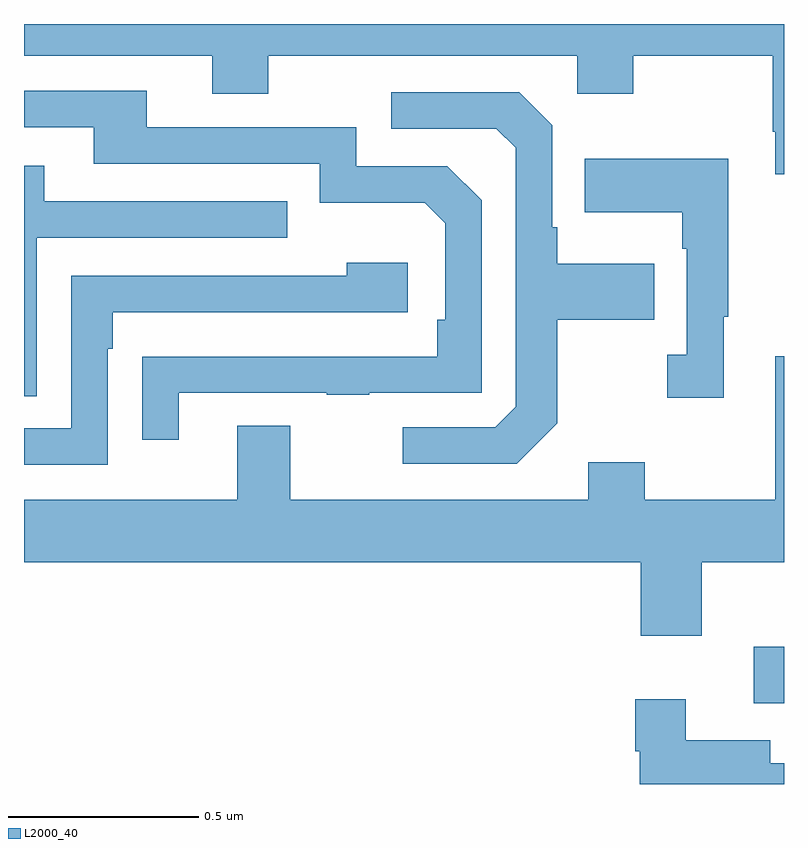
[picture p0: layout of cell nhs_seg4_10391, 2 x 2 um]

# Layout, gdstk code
import gdstk
lib = gdstk.Library(unit=1e-6, precision=1e-09)
def R(c, l, rs):  # rectangles x0, y0, x1, y1
    for r in rs: c.add(gdstk.rectangle(r[:2], r[2:], *l))
def P(c, l, *ps):  # polygons
    for p in ps: c.add(gdstk.Polygon(p, *l))
L2000_40 = (2000, 40)

nhs_seg4_10391 = lib.new_cell('nhs_seg4_10391')
R(nhs_seg4_10391, L2000_40, [(240.921,799.112,241,799.261)])
P(nhs_seg4_10391, L2000_40, [(241,800.9),(239,800.9),(239,800.816),(239.495,800.816),(239.495,800.717),(239.643,800.717),(239.643,800.816),(240.456,800.816),(240.456,800.717),(240.603,800.717),(240.603,800.816),(240.97,800.816),(240.97,800.617),(240.977,800.617),(240.977,800.505),(241,800.505)],
  [(239.407,799.929),(239.797,799.929),(239.797,799.924),(239.909,799.924),(239.909,799.929),(240.204,799.929),(240.204,800.436),(240.114,800.526),(239.874,800.526),(239.874,800.628),(239.323,800.628),(239.323,800.724),(239,800.724),(239,800.628),(239.183,800.628),(239.183,800.532),(239.778,800.532),(239.778,800.429),(240.055,800.429),(240.108,800.376),(240.108,800.122),(240.088,800.122),(240.088,800.025),(239.413,800.025),(239.413,800.024),(239.311,800.024),(239.311,799.806),(239.407,799.806)],
  [(240.403,799.849),(240.403,800.122),(240.659,800.122),(240.659,800.269),(240.403,800.269),(240.403,800.365),(240.39,800.365),(240.39,800.634),(240.303,800.721),(239.967,800.721),(239.967,800.625),(240.243,800.625),(240.294,800.574),(240.294,799.893),(240.24,799.839),(239.997,799.839),(239.997,799.743),(240.297,799.743)],
  [(240.841,800.129),(240.853,800.129),(240.853,800.545),(240.475,800.545),(240.475,800.405),(240.732,800.405),(240.732,800.309),(240.744,800.309),(240.744,800.03),(240.693,800.03),(240.693,799.917),(240.841,799.917)],
  [(239.034,800.337),(239.693,800.337),(239.693,800.433),(239.053,800.433),(239.053,800.527),(239,800.527),(239,799.921),(239.034,799.921)],
  [(239.22,800.045),(239.233,800.045),(239.233,800.142),(240.01,800.142),(240.01,800.272),(239.849,800.272),(239.849,800.238),(239.124,800.238),(239.124,799.836),(239,799.836),(239,799.74),(239.22,799.74)],
  [(240.485,799.648),(239.701,799.648),(239.701,799.843),(239.561,799.843),(239.561,799.648),(239,799.648),(239,799.484),(240.623,799.484),(240.623,799.29),(240.783,799.29),(240.783,799.484),(241,799.484),(241,800.026),(240.977,800.026),(240.977,799.648),(240.633,799.648),(240.633,799.747),(240.485,799.747)],
  [(241,798.955),(240.964,798.955),(240.964,799.015),(240.742,799.015),(240.742,799.123),(240.608,799.123),(240.608,798.986),(240.62,798.986),(240.62,798.9),(241,798.9)])

lib.write_gds('nhs_seg4_10391.gds')
